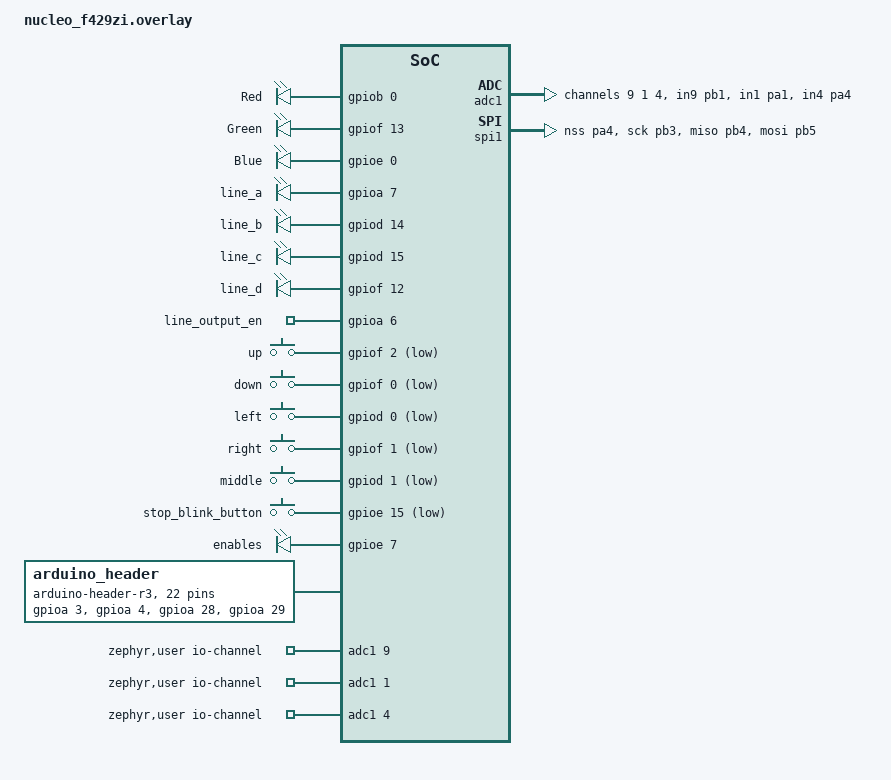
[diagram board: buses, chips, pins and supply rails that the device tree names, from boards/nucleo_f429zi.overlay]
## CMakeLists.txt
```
# SPDX-License-Identifier: Apache-2.0

cmake_minimum_required(VERSION 3.20.0)

find_package(Zephyr REQUIRED HINTS $ENV{ZEPHYR_BASE})
project(hello_world)

set (PROJ_TOP "/home/yair/alyn/alyn/")

add_compile_definitions( 
	ZEPHYR 
	USE_ORIGNAL_LUA_CODE
	NO_SYSLOG
)


set(TARGET  ZEPHYR)


include(ExternalProject)

# Define the external project
ExternalProject_Add(luac
    SOURCE_DIR ${PROJ_TOP}/common/luaEffects/luac
    #  CMAKE_ARGS -DCMAKE_INSTALL_PREFIX=<INSTALL_DIR>
    BUILD_ALWAYS 1
    INSTALL_COMMAND "" 
    PREFIX ${CMAKE_BINARY_DIR}/external_project_build 
)


# Make sure the main project depends on the custom target
add_dependencies(app luac)


set (LUAC_PATH 	
		${CMAKE_BINARY_DIR}/external_project_build/src/luac-build/luac
)

set (ZEPHYR  TRUE)
set (cpu_compile_flags -mcpu=cortex-m4 -mthumb)


add_subdirectory(${PROJ_TOP}/common/luaEffects  ${PROJECT_BINARY_DIR}/luaEffects/)
add_subdirectory(${PROJ_TOP}/common/effects  ${PROJECT_BINARY_DIR}/effects)
add_subdirectory(${PROJ_TOP}/common/utils  ${PROJECT_BINARY_DIR}/utils)
#add_subdirectory(${PROJ_TOP}/common/comm_protocol  ${PROJECT_BINARY_DIR}/comm_protocol)
#add_subdirectory(${PROJ_TOP}/common/hal  ${PROJECT_BINARY_DIR}/hal)


#https://jonathanhamberg.com/post/cmake-file-embedding/
include (${PROJ_TOP}/cmake/functions.cmake)
set(PRE_CONFIGURE_FILE "${PROJ_TOP}/cmake/git.h.in")
set(POST_CONFIGURE_FILE "${PROJECT_BINARY_DIR}/git.h")
include (${PROJ_TOP}/cmake/git_watcher.cmake)
set (CMAKE_CXX_STANDARD 17)

#add_library(common_static1 STATIC IMPORTED GLOBAL)
#set_target_properties(common_static1 PROPERTIES IMPORTED_LOCATION
#	/home/yair/alyn/project/game-controller/build/common/libcommon_static.a)

target_sources(app PRIVATE 
	# c
	src/shell.c
	src/main.c	
	src/hwctl.c	
	src/game.c
  	src/uart.c
	src/display.c
	src/buttons.c
	src/timing.c
  	src/lua_memory.c

	# cpp	
  	src/parser_task.cpp
	src/HandleUartMsg.cpp
	${PROJ_TOP}/common/comm_protocol/protocol-v1/ProtocolStateMachine.cpp
	${PROJ_TOP}/common/hal/zephyr/uart_shell.cpp

)

get_target_property(TARGET_COMPILE_OPTIONS app COMPILE_OPTIONS)
message("Compile options for my_target: ${TARGET_COMPILE_OPTIONS}")
target_include_directories(app PRIVATE
	${PROJ_TOP}/common/comm_protocol/
	${PROJ_TOP}/common/
	${PROJ_TOP}/common/hal
	${PROJ_TOP}/
	${PROJECT_BINARY_DIR}
	src/getopt
	common/	
	)


target_link_libraries(app PRIVATE 
	-Wl,--start-group	
	effects_static
	common_static
	luaEffects_static
	lua_binaries
	lua_module
	#	comm_protocol
	#	Hal
	-Wl,--end-group

)
#add_dependencies( app
#	common_static1
#)

#target_link_libraries(app PRIVATE common_static)

target_compile_definitions(app PRIVATE 
	ZEPHYR
	USE_ORIGNAL_LUA_CODE
	NO_SYSLOG)
```

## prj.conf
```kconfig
# nothing here
CONFIG_SHELL=y
CONFIG_ADC=y
CONFIG_ADC_STM32=y

#CONFIG_SHELL_GETOPT=y
#CONFIG_GPIO_EMUL=y
CONFIG_UART_NATIVE_POSIX=y
#CONFIG_EXTERNAL_LIBC=y
#CONFIG_MINIMAL_LIBC=y

CONFIG_DEBUG_THREAD_INFO=y
CONFIG_NO_OPTIMIZATIONS=y

CONFIG_POSIX_API=y
CONFIG_POSIX_CLOCK=y

#CONFIG_NEWLIB_LIBC=y
#CONFIG_FILE_SYSTEM=y
#CONFIG_MAIN_STACK_SIZE=16384
CONFIG_SHELL_STACK_SIZE=4096 
#16384

CONFIG_TEST_RANDOM_GENERATOR=y
#CONFIG_NEWLIB_LIBC=y
#CONFIG_DEBUG_OPTIMIZATIONS=y
#CONFIG_SHELL_START_OBSCURED=y


CONFIG_LOG=y
CONFIG_EXTRA_EXCEPTION_INFO=y
CONFIG_SIMPLIFIED_EXCEPTION_CODES=y


CONFIG_BOOT_BANNER=y


CONFIG_FLASH=y
CONFIG_FLASH_MAP=y
CONFIG_FLASH_PAGE_LAYOUT=y


#CONFIG_FILE_SYSTEM=y
#CONFIG_FILE_SYSTEM_SHELL=y
#CONFIG_FILE_SYSTEM_LITTLEFS=y


CONFIG_UART_INTERRUPT_DRIVEN=y

#CONFIG_HEAP_MEM_POOL_SIZE=16000
CONFIG_LIB_CPLUSPLUS=y
CONFIG_CPLUSPLUS=y
CONFIG_NEWLIB_LIBC_NANO=n
CONFIG_REQUIRES_FULL_LIBCPP=y

CONFIG_SHELL_BACKEND_SERIAL_TX_RING_BUFFER_SIZE=384
CONFIG_SHELL_BACKEND_SERIAL_RX_RING_BUFFER_SIZE=384
#CONFIG_SHELL_BACKEND_SERIAL_INTERRUPT_DRIVEN=y
CONFIG_SPI=y
CONFIG_SPI_STM32_DMA=y

#CONFIG_SPI_1=y
CONFIG_DMA=y
#CONFIG_SPI_DMA=y
#
CONFIG_GPIO=y
CONFIG_GPIO_STM32=y       # Adjust based on your MCU platform


CONFIG_HW_STACK_PROTECTION=y
CONFIG_STACK_SENTINEL=y
```

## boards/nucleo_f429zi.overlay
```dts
#include <zephyr/dt-bindings/input/input-event-codes.h>

/ {

	aliases  {
		spi-screen = &spi1;
		dma-screen = &dma1;
	};
	chosen {
		zephyr,console = &usart3;
		zephyr,shell-uart = &usart3;
	};

	leds {
		compatible = "gpio-leds";
		station_led_r: red {
			gpios = <&gpiob 0 (GPIO_ACTIVE_HIGH)>;
			label = "Red";
		};
		station_led_g: green {
			gpios = <&gpiof 13 (GPIO_ACTIVE_HIGH)>;
			label = "Green";
		};
		station_led_b: blue {
			gpios = <&gpioe 0 (GPIO_ACTIVE_HIGH)>;
			label = "Blue";
		};
	};
	
	line_mux {
		compatible = "gpio-leds";
		line_a: a {
			gpios = <&gpioa 7 (GPIO_PULL_UP | GPIO_ACTIVE_HIGH)>;
			label = "line_a";
		};
		line_b: b {
			gpios = <&gpiod 14 (GPIO_PULL_UP | GPIO_ACTIVE_HIGH)>;
			label = "line_b";
		};
		line_c: c {
			gpios = <&gpiod 15 (GPIO_PULL_UP | GPIO_ACTIVE_HIGH)>;
			label = "line_c";
		};
		line_d: d {
			gpios = <&gpiof 12 (GPIO_PULL_UP | GPIO_ACTIVE_HIGH)>;
			label = "line_d";
		};
	};

	ctl_gpio {
		compatible = "gpio-leds";
		line_output_en: line_output_en {
			gpios = <&gpioa 6 (GPIO_PULL_UP | GPIO_ACTIVE_HIGH)>;
			label = "line_output_en";
		};
	};

	gpio_keys: buttons{
		compatible = "gpio-keys";
		user_button_up: up {
			label = "up";
			gpios = <&gpiof 2 (GPIO_ACTIVE_LOW | GPIO_PULL_UP | GPIO_ACTIVE_LOW)> ;
			zephyr,code = <INPUT_KEY_U>;
		};
		user_button_down: down {
			label = "down";
			gpios = <&gpiof 0 ( GPIO_ACTIVE_LOW | GPIO_PULL_UP | GPIO_ACTIVE_LOW)>;
			zephyr,code = <INPUT_KEY_D>;
		};
		user_button_left: left {
			label = "left";
			gpios = <&gpiod 0 ( GPIO_ACTIVE_LOW | GPIO_PULL_UP | GPIO_ACTIVE_LOW)>;
			zephyr,code = <INPUT_KEY_L>;
		};
		user_button_right: right {
			label = "right";
			gpios = <&gpiof 1 (GPIO_ACTIVE_LOW | GPIO_PULL_UP | GPIO_ACTIVE_LOW)>;
			zephyr,code = <INPUT_KEY_R>;
		};
		user_button_middle: middle {
			label = "middle";
			gpios = <&gpiod 1 ( GPIO_ACTIVE_LOW | GPIO_PULL_UP | GPIO_ACTIVE_LOW)>;
			zephyr,code = <INPUT_KEY_M>;
		};
/*
		station_button: stb {
			label = "stb";
			gpios = <&gpiod 1 ( GPIO_ACTIVE_LOW | GPIO_PULL_UP | GPIO_ACTIVE_LOW)>;
			zephyr,code = <INPUT_KEY_M>;
		};
*/
		stop_blink_button_dt: stop_blink {
			label = "stop_blink_button";
			gpios = <&gpioe 15 (GPIO_ACTIVE_LOW | GPIO_PULL_UP )>;
			zephyr,code = <INPUT_KEY_S>;
		};
	
	};

	longpress {
        	input = <&user_button_up>;
	        compatible = "zephyr,input-longpress";
        	input-codes = <INPUT_KEY_L>, <INPUT_KEY_R>,<INPUT_KEY_D>, <INPUT_KEY_U>, <INPUT_KEY_M>;
	        short-codes = <INPUT_KEY_L>, <INPUT_KEY_R>,<INPUT_KEY_D>, <INPUT_KEY_U>, <INPUT_KEY_M>;
	        long-codes = <INPUT_KEY_L>, <INPUT_KEY_R>,<INPUT_KEY_D>, <INPUT_KEY_U>, <INPUT_KEY_M>;
	        long-delay-ms = <2000>;
	};

	enable_nodes {
             compatible = "gpio-leds";
          	enables: en {
		/*
			gpios =  <&arduino_header 1 GPIO_ACTIVE_LOW>,
				 <&arduino_header 2 GPIO_ACTIVE_LOW>,
				  <&arduino_header 3 GPIO_ACTIVE_LOW>,
				   <&arduino_header 4 GPIO_ACTIVE_LOW>,
				    <&arduino_header 5 GPIO_ACTIVE_LOW>;
		*/
                     gpios = <&gpioe 7 (GPIO_PULL_UP | GPIO_ACTIVE_HIGH)>,
		    	 <&gpiod 12 (GPIO_PULL_UP | GPIO_ACTIVE_HIGH)> ,
		    	 <&gpiod 11 (GPIO_PULL_UP | GPIO_ACTIVE_HIGH)> ,
		    	 <&gpioe 10 (GPIO_PULL_UP | GPIO_ACTIVE_HIGH)> ,
		    	 <&gpioe 2 (GPIO_PULL_UP | GPIO_ACTIVE_HIGH)> ,
		    	 <&gpioe 12 (GPIO_PULL_UP | GPIO_ACTIVE_HIGH)> ,
		    	 <&gpioe 14 (GPIO_PULL_UP | GPIO_ACTIVE_HIGH)> ,
		    	 <&gpioa 0 (GPIO_PULL_UP | GPIO_ACTIVE_HIGH)> ;			 
			 
			 
              };
     	};

	arduino_header: connector {
		compatible = "arduino-header-r3";
		#gpio-cells = <2>;
		gpio-map-mask = <0xffffffff 0xffffffc0>;
		gpio-map-pass-thru = <0 0x3f>;
		gpio-map = <0 0 &gpioa 3 0>,	/* A0 */
			   <1 0 &gpioa 4 0>,	/* A1 */
			   <2 0 &gpioa 28 0>,	/* A2 */
			   <3 0 &gpioa 29 0>,	/* A3 */
			   <4 0 &gpioa 30 0>,	/* A4 */
			   <5 0 &gpioa 31 0>,	/* A5 */
			   <6 0 &gpiob 1 0>,	/* D0 */
			   <7 0 &gpiob 2 0>,	/* D1 */
			   <8 0 &gpiob 3 0>,	/* D2 */
			   <9 0 &gpiob 4 0>,	/* D3 */
			   <10 0 &gpiob 5 0>,	/* D4 */
			   <11 0 &gpiob 6 0>,	/* D5 */
			   <12 0 &gpiob 7 0>,	/* D6 */
			   <13 0 &gpiob 8 0>,	/* D7 */
			   <14 0 &gpiob 10 0>,	/* D8 */
			   <15 0 &gpiob 11 0>,	/* D9 */
			   <16 0 &gpiob 12 0>,	/* D10 */
			   <17 0 &gpiob 13 0>,	/* D11 */
			   <18 0 &gpiob 14 0>,	/* D12 */
			   <19 0 &gpiob 15 0>,	/* D13 */
			   <20 0 &gpioa 26 0>,	/* D14 */
			   <21 0 &gpioa 27 0>;	/* D15 */
	};

	zephyr,user {
		/* adjust channel number according to pinmux in board.dts */
		io-channels = <&adc1 9>, <&adc1 1>, <&adc1 4>;
	};



			
};


/*
	
&clk_hse {
	status = "okay";
	clock-frequency = <8000000>;
};

&clk_lse {
	status = "okay";
	clock-frequency = <32784>;
};


&clk_hsi {
	status = "okay";
	clock-frequency = <16000000>;
};

&pll {
	div-m = <8>;
	mul-n = <336>;
	div-p = <2>;
	div-q = <7>;
	clocks = <&clk_hse>;
	status = "okay";
};





&rcc {
	clocks = <&pll>;
	clock-frequency = <DT_FREQ_M(168)>;
 	ahb-prescaler = <1>;
	apb1-prescaler = <4>;
	apb2-prescaler = <2>;
	
};


&usart3 {
	pinctrl-0 = <&usart3_tx_pc10 &usart3_rx_pc11>;
	pinctrl-names = "default";
	current-speed = <115200>;
	status = "okay";
};
*/




&adc1 {
	status = "okay";
	#address-cells = <1>;
	#size-cells = <0>;
	pinctrl-0 = <&adc1_in9_pb1>, <&adc1_in1_pa1>,  <&adc1_in4_pa4>;
	pinctrl-names = "default";


	channel@9 {
		reg = <9>;
		zephyr,gain = "ADC_GAIN_1";
		zephyr,reference = "ADC_REF_INTERNAL";
		zephyr,acquisition-time = <ADC_ACQ_TIME_DEFAULT>;
		zephyr,resolution = <12>;
	};

	channel@1 {
		reg = <1>;
		zephyr,gain = "ADC_GAIN_1";
		zephyr,reference = "ADC_REF_INTERNAL";
		zephyr,acquisition-time = <ADC_ACQ_TIME_DEFAULT>;
		zephyr,resolution = <12>;
	};

	channel@4 {
		reg = <4>;
		zephyr,gain = "ADC_GAIN_1";
		zephyr,reference = "ADC_REF_INTERNAL";
		zephyr,acquisition-time = <ADC_ACQ_TIME_DEFAULT>;
		zephyr,resolution = <12>;
	};
};


&dma1 {
	label = "dma_screen";
	status="okay";
};

&spi1  {
	pinctrl-0 = <&spi1_nss_pa4 &spi1_sck_pb3
		     &spi1_miso_pb4 &spi1_mosi_pb5>;
	pinctrl-names = "default";
	status = "okay";
	label="spi_screen";

	/* Specify DMA configuration */
    	dmas = <&dma1 5 0>, <&dma1 6 0>; // DMA channel 5 for TX, DMA channel 6 for RX
   	dma-names = "tx", "rx";
};
```

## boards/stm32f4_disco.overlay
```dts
/ {
	
	chosen {
		zephyr,console = &usart3;
		zephyr,shell-uart = &usart3;
	};

	leds {
		compatible = "gpio-leds";
		station_led_r: red {
			gpios = <&gpioh 2 (GPIO_PULL_UP | GPIO_ACTIVE_HIGH)>;
			label = "Red";
		};
		station_led_g: green {
			gpios = <&gpioh 3 (GPIO_PULL_UP | GPIO_ACTIVE_HIGH)>;
			label = "Green";
		};
		station_led_b: blue {
			gpios = <&gpioh 5 (GPIO_PULL_UP | GPIO_ACTIVE_HIGH)>;
			label = "Blue";
		};
	};	
	gpio_keys {
		compatible = "gpio-keys";
		user_button_up: up {
			label = "up";
			gpios = <&gpioa 0 GPIO_ACTIVE_HIGH>;
		};
		user_button_down: down {
			label = "down";
			gpios = <&gpioa 0 GPIO_ACTIVE_HIGH>;
		};
		user_button_left: left {
			label = "left";
			gpios = <&gpioa 0 GPIO_ACTIVE_HIGH>;
		};
		user_button_right: right {
			label = "right";
			gpios = <&gpioa 0 GPIO_ACTIVE_HIGH>;
		};
		user_button_middle: middle {
			label = "middle";
			gpios = <&gpioa 0 GPIO_ACTIVE_HIGH>;
		};

		station_button: stb {
			label = "station_button";
			gpios = <&gpioa 0 GPIO_ACTIVE_HIGH>;
		};
	
	};

	enable_nodes {
             compatible = "gpio-leds";
          	enables: en {
		/*
			gpios =  <&arduino_header 1 GPIO_ACTIVE_LOW>,
				 <&arduino_header 2 GPIO_ACTIVE_LOW>,
				  <&arduino_header 3 GPIO_ACTIVE_LOW>,
				   <&arduino_header 4 GPIO_ACTIVE_LOW>,
				    <&arduino_header 5 GPIO_ACTIVE_LOW>;
		*/
                     gpios = <&gpioi 9 (GPIO_PULL_UP | GPIO_ACTIVE_HIGH)>,
		    	 <&gpioi 11 (GPIO_PULL_UP | GPIO_ACTIVE_HIGH)> ,
		    	 <&gpiof 1 (GPIO_PULL_UP | GPIO_ACTIVE_HIGH)> ,
		    	 <&gpiof 3 (GPIO_PULL_UP | GPIO_ACTIVE_HIGH)> ,
		    	 <&gpiof 4 (GPIO_PULL_UP | GPIO_ACTIVE_HIGH)> ,
		    	 <&gpiof 6 (GPIO_PULL_UP | GPIO_ACTIVE_HIGH)> ,
		    	 <&gpiof 8 (GPIO_PULL_UP | GPIO_ACTIVE_HIGH)> ,
		    	 <&gpioc 2 (GPIO_PULL_UP | GPIO_ACTIVE_HIGH)> ;
			 
              };
     	};

arduino_header: connector {
		compatible = "arduino-header-r3";
		#gpio-cells = <2>;
		gpio-map-mask = <0xffffffff 0xffffffc0>;
		gpio-map-pass-thru = <0 0x3f>;
		gpio-map = <0 0 &gpioa 3 0>,	/* A0 */
			   <1 0 &gpioa 4 0>,	/* A1 */
			   <2 0 &gpioa 28 0>,	/* A2 */
			   <3 0 &gpioa 29 0>,	/* A3 */
			   <4 0 &gpioa 30 0>,	/* A4 */
			   <5 0 &gpioa 31 0>,	/* A5 */
			   <6 0 &gpiob 1 0>,	/* D0 */
			   <7 0 &gpiob 2 0>,	/* D1 */
			   <8 0 &gpiob 3 0>,	/* D2 */
			   <9 0 &gpiob 4 0>,	/* D3 */
			   <10 0 &gpiob 5 0>,	/* D4 */
			   <11 0 &gpiob 6 0>,	/* D5 */
			   <12 0 &gpiob 7 0>,	/* D6 */
			   <13 0 &gpiob 8 0>,	/* D7 */
			   <14 0 &gpiob 10 0>,	/* D8 */
			   <15 0 &gpiob 11 0>,	/* D9 */
			   <16 0 &gpiob 12 0>,	/* D10 */
			   <17 0 &gpiob 13 0>,	/* D11 */
			   <18 0 &gpiob 14 0>,	/* D12 */
			   <19 0 &gpiob 15 0>,	/* D13 */
			   <20 0 &gpioa 26 0>,	/* D14 */
			   <21 0 &gpioa 27 0>;	/* D15 */
	};

	zephyr,user {
		/* adjust channel number according to pinmux in board.dts */
		io-channels = <&adc1 10>, <&adc1 1>, <&adc1 4>;
	};



			

	fstab {
           compatible = "zephyr,fstab";
           lfs1: lfs1 {
            compatible = "zephyr,fstab,littlefs";
            mount-point = "/lfs";
            partition = <&storage_partition>;
            automount;
            read-size = <1>;
            prog-size = <16>;
            cache-size = <256>;
            lookahead-size = <32>;
            block-cycles = <512>;
            /*no-format;*/
        };
     };
     


	flash_controller2: flash-controller@2 {
			compatible = "zephyr,sim-flash";
			reg = <0x00000000 DT_SIZE_K(32)>;

			#address-cells = <1>;
			#size-cells = <1>;
			erase-value = <0xff>;

			flash_sim0: flash_sim@0 {
				status = "okay";
				compatible = "soc-nv-flash";
				erase-block-size = <64>;
				write-block-size = <1>;
				reg = <0x00000000 DT_SIZE_K(8)>;

				partitions {
					compatible = "fixed-partitions";
					#address-cells = <1>;
					#size-cells = <1>;

					storage_partition: partition@0 {
						label = "lfs";
						reg = <0x00000000 DT_SIZE_K(8)>;
					};
				};
			};
		};
};

&flash0 {
		partitions {
			compatible = "fixed-partitions";
			#address-cells = <1>;
			#size-cells = <1>;
			storage_partition1: partition@c0000 {
                        	 label = "data";
				 reg = <0x80000 DT_SIZE_K(512)>;
                	};
		};
	};

	
&clk_hse {
	status = "okay";
	clock-frequency = <25000000>;
};

&clk_lse {
	status = "okay";
	clock-frequency = <32784>;
};


&clk_hsi {
	status = "okay";
	clock-frequency = <16000000>;
};

&pll {
	div-m = <25>;
	mul-n = <336>;
	div-p = <2>;
	div-q = <7>;
	clocks = <&clk_hse>;
	status = "okay";
};





&rcc {
	clocks = <&pll>;
	clock-frequency = <DT_FREQ_M(168)>;
 	ahb-prescaler = <1>;
	apb1-prescaler = <4>;
	apb2-prescaler = <2>;
	
};


&usart3 {
	pinctrl-0 = <&usart3_tx_pc10 &usart3_rx_pc11>;
	pinctrl-names = "default";
	current-speed = <115200>;
	status = "okay";
};

&adc1 {
	status = "okay";
	#address-cells = <1>;
	#size-cells = <0>;
	pinctrl-0 = <&adc1_in10_pc0>, <&adc1_in1_pa1>,  <&adc1_in4_pa4>;
	pinctrl-names = "default";


	channel@10 {
		reg = <10>;
		zephyr,gain = "ADC_GAIN_1";
		zephyr,reference = "ADC_REF_INTERNAL";
		zephyr,acquisition-time = <ADC_ACQ_TIME_DEFAULT>;
		zephyr,resolution = <12>;
	};

	channel@1 {
		reg = <1>;
		zephyr,gain = "ADC_GAIN_1";
		zephyr,reference = "ADC_REF_INTERNAL";
		zephyr,acquisition-time = <ADC_ACQ_TIME_DEFAULT>;
		zephyr,resolution = <12>;
	};

	channel@4 {
		reg = <4>;
		zephyr,gain = "ADC_GAIN_1";
		zephyr,reference = "ADC_REF_INTERNAL";
		zephyr,acquisition-time = <ADC_ACQ_TIME_DEFAULT>;
		zephyr,resolution = <12>;
	};
};
```

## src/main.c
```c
/*
 * Copyright (c) 2012-2014 Wind River Systems, Inc.
 *
 * SPDX-License-Identifier: Apache-2.0
 */


#include <zephyr/kernel.h>
#include <zephyr/device.h>
#include <zephyr/devicetree.h>
#include <zephyr/drivers/uart.h>
#include <zephyr/drivers/spi.h>
#include <zephyr/drivers/gpio.h>
#include <zephyr/drivers/dma.h>

#include <zephyr/kernel.h>
#include <zephyr/device.h>
#include <zephyr/drivers/gpio.h>
#include <zephyr/sys/printk.h>

#include <zephyr/kernel.h>
#include <zephyr/device.h>
#include <zephyr/drivers/gpio.h>
#include <zephyr/sys/util.h>
#include <zephyr/sys/printk.h>
#include <inttypes.h>

#include "shell.h"


#include <zephyr/fs/fs.h>
#include <zephyr/drivers/gpio/gpio_emul.h>

#include <stdlib.h>

#include "lauxlib.h"
#include "lualib.h"
#include "hwctl.h"
#include "system_model.h"
#include "game.h"
#include "display.h"

#include "effects/src/led_matrix.h"
int _open() {
	return 0;
}


int _link() {
	return 0;
}
int _unlink() {
	return 0;
}
int _times() {
	return 0;
}

#include <zephyr/kernel.h>
#include <zephyr/device.h>
#include <zephyr/fs/fs.h>
//#include <zephyr/fs/littlefs.h>
#include <zephyr/logging/log.h>
#include <zephyr/storage/flash_map.h>

LOG_MODULE_REGISTER(main);

#if 0
/* Matches LFS_NAME_MAX */
#define MAX_PATH_LEN 255
#define TEST_FILE_SIZE 547

static uint8_t file_test_pattern[TEST_FILE_SIZE];
static int lsdir(const char *path)
{
	int res;
	struct fs_dir_t dirp;
	static struct fs_dirent entry;

	fs_dir_t_init(&dirp);

	/* Verify fs_opendir() */
	res = fs_opendir(&dirp, path);
	if (res) {
		LOG_ERR("Error opening dir %s [%d]\n", path, res);
		return res;
	}

	LOG_PRINTK("\nListing dir %s ...\n", path);
	for (;;) {
		/* Verify fs_readdir() */
		res = fs_readdir(&dirp, &entry);

		/* entry.name[0] == 0 means end-of-dir */
		if (res || entry.name[0] == 0) {
			if (res < 0) {
				LOG_ERR("Error reading dir [%d]\n", res);
			}
			break;
		}

		if (entry.type == FS_DIR_ENTRY_DIR) {
			LOG_PRINTK("[DIR ] %s\n", entry.name);
		} else {
			LOG_PRINTK("[FILE] %s (size = %zu)\n",
				   entry.name, entry.size);
		}
	}

	/* Verify fs_closedir() */
	fs_closedir(&dirp);

	return res;
}

static int littlefs_increase_infile_value(char *fname)
{
	uint8_t boot_count = 0;
	struct fs_file_t file;
	int rc, ret;

	fs_file_t_init(&file);
	rc = fs_open(&file, fname, FS_O_CREATE | FS_O_RDWR);
	if (rc < 0) {
		LOG_ERR("FAIL: open %s: %d", fname, rc);
		return rc;
	}

	rc = fs_read(&file, &boot_count, sizeof(boot_count));
	if (rc < 0) {
		LOG_ERR("FAIL: read %s: [rd:%d]", fname, rc);
		goto out;
	}
	LOG_PRINTK("%s read count:%u (bytes: %d)\n", fname, boot_count, rc);

#if 0
	rc = fs_seek(&file, 0, FS_SEEK_SET);
	if (rc < 0) {
		LOG_ERR("FAIL: seek %s: %d", fname, rc);
		goto out;
	}
#endif
	boot_count += 1;
	for (int i = 0;i<200;i++) { 
		rc = fs_write(&file, &boot_count, sizeof(boot_count));
	if (rc < 0) {
		LOG_ERR("FAIL: write %s: %d", fname, rc);
		goto out;
	}
	}
	LOG_PRINTK("%s write new boot count %u: [wr:%d]\n", fname,
		   boot_count, rc);

 out:
	ret = fs_close(&file);
	if (ret < 0) {
		LOG_ERR("FAIL: close %s: %d", fname, ret);
		return ret;
	}

	return (rc < 0 ? rc : 0);
}

static void incr_pattern(uint8_t *p, uint16_t size, uint8_t inc)
{
	uint8_t fill = 0x55;

	if (p[0] % 2 == 0) {
		fill = 0xAA;
	}

	for (int i = 0; i < (size - 1); i++) {
		if (i % 8 == 0) {
			p[i] += inc;
		} else {
			p[i] = fill;
		}
	}

	p[size - 1] += inc;
}

static void init_pattern(uint8_t *p, uint16_t size)
{
	uint8_t v = 0x1;

	memset(p, 0x55, size);

	for (int i = 0; i < size; i += 8) {
		p[i] = v++;
	}

	p[size - 1] = 0xAA;
}

static void print_pattern(uint8_t *p, uint16_t size)
{
	int i, j = size / 16, k;

	for (k = 0, i = 0; k < j; i += 16, k++) {
		LOG_PRINTK("%02x %02x %02x %02x %02x %02x %02x %02x ",
			   p[i], p[i+1], p[i+2], p[i+3],
			   p[i+4], p[i+5], p[i+6], p[i+7]);
		LOG_PRINTK("%02x %02x %02x %02x %02x %02x %02x %02x\n",
			   p[i+8], p[i+9], p[i+10], p[i+11],
			   p[i+12], p[i+13], p[i+14], p[i+15]);

		/* Mark 512B (sector) chunks of the test file */
		if ((k + 1) % 32 == 0) {
			LOG_PRINTK("\n");
		}
	}

	for (; i < size; i++) {
		LOG_PRINTK("%02x ", p[i]);
	}

	LOG_PRINTK("\n");
}

static int littlefs_binary_file_adj(char *fname)
{
	struct fs_dirent dirent;
	struct fs_file_t file;
	int rc, ret;

	/*
	 * Uncomment below line to force re-creation of the test pattern
	 * file on the littlefs FS.
	 */
	/* fs_unlink(fname); */
	fs_file_t_init(&file);

	rc = fs_open(&file, fname, FS_O_CREATE | FS_O_APPEND);
	if (rc < 0) {
		LOG_ERR("FAIL: open %s: %d", fname, rc);
		return rc;
	}

	rc = fs_stat(fname, &dirent);
	if (rc < 0) {
		LOG_ERR("FAIL: stat %s: %d", fname, rc);
		goto out;
	}

	/* Check if the file exists - if not just write the pattern */
	if (rc == 0 && dirent.type == FS_DIR_ENTRY_FILE && dirent.size == 0) {
		LOG_INF("Test file: %s not found, create one!",
			fname);
		init_pattern(file_test_pattern, sizeof(file_test_pattern));
	} else {
		rc = fs_read(&file, file_test_pattern,
			     sizeof(file_test_pattern));
		if (rc < 0) {
			LOG_ERR("FAIL: read %s: [rd:%d]",
				fname, rc);
			goto out;
		}
		incr_pattern(file_test_pattern, sizeof(file_test_pattern), 0x1);
	}

	LOG_PRINTK("------ FILE: %s ------\n", fname);
	print_pattern(file_test_pattern, sizeof(file_test_pattern));

	rc = fs_seek(&file, 0, FS_SEEK_SET);
	if (rc < 0) {
		LOG_ERR("FAIL: seek %s: %d", fname, rc);
		goto out;
	}

	rc = fs_write(&file, file_test_pattern, sizeof(file_test_pattern));
	if (rc < 0) {
		LOG_ERR("FAIL: write %s: %d", fname, rc);
	}

 out:
	ret = fs_close(&file);
	if (ret < 0) {
		LOG_ERR("FAIL: close %s: %d", fname, ret);
		return ret;
	}

	return (rc < 0 ? rc : 0);
}


#define CONFIG_APP_LITTLEFS_STORAGE_FLASH
#ifdef CONFIG_APP_LITTLEFS_STORAGE_FLASH
static int littlefs_flash_erase(unsigned int id)
{
	const struct flash_area *pfa;
	int rc;

	rc = flash_area_open(id, &pfa);
	if (rc < 0) {
		LOG_ERR("FAIL: unable to find flash area %u: %d\n",
			id, rc);
		return rc;
	}

	LOG_PRINTK("Area %u at 0x%x on %s for %u bytes\n",
		   id, (unsigned int)pfa->fa_off, pfa->fa_dev->name,
		   (unsigned int)pfa->fa_size);

	/* Optional wipe flash contents */
	if (IS_ENABLED(CONFIG_APP_WIPE_STORAGE)) {
		rc = flash_area_erase(pfa, 0, pfa->fa_size);
		LOG_ERR("Erasing flash area ... %d", rc);
	}

	flash_area_close(pfa);
	return rc;
}
#define PARTITION_NODE DT_NODELABEL(lfs1)

#if DT_NODE_EXISTS(PARTITION_NODE)
FS_FSTAB_DECLARE_ENTRY(PARTITION_NODE);
#else /* PARTITION_NODE */
FS_LITTLEFS_DECLARE_DEFAULT_CONFIG(storage);
static struct fs_mount_t lfs_storage_mnt = {
	.type = FS_LITTLEFS,
	.fs_data = &storage,
	.storage_dev = (void *)FIXED_PARTITION_ID(storage_partition),
	.mnt_point = "/lfs",
};
#endif /* PARTITION_NODE */

	struct fs_mount_t *mp =
#if DT_NODE_EXISTS(PARTITION_NODE)
		&FS_FSTAB_ENTRY(PARTITION_NODE)
#else
		&lfs_storage_mnt
#endif
		;

static int littlefs_mount(struct fs_mount_t *mp)
{
	int rc;

	rc = littlefs_flash_erase((uintptr_t)mp->storage_dev);
	if (rc < 0) {
		return rc;
	}

	/* Do not mount if auto-mount has been enabled */
#if !DT_NODE_EXISTS(PARTITION_NODE) ||						\
	!(FSTAB_ENTRY_DT_MOUNT_FLAGS(PARTITION_NODE) & FS_MOUNT_FLAG_AUTOMOUNT)
	rc = fs_mount(mp);
	if (rc < 0) {
		LOG_PRINTK("FAIL: mount id %" PRIuPTR " at %s: %d\n",
		       (uintptr_t)mp->storage_dev, mp->mnt_point, rc);
		return rc;
	}
	LOG_PRINTK("%s mount: %d\n", mp->mnt_point, rc);
#else
	LOG_PRINTK("%s automounted\n", mp->mnt_point);
#endif

	return 0;
}
#endif /* CONFIG_APP_LITTLEFS_STORAGE_FLASH */

#ifdef CONFIG_APP_LITTLEFS_STORAGE_BLK_SDMMC
struct fs_littlefs lfsfs;
static struct fs_mount_t __mp = {
	.type = FS_LITTLEFS,
	.fs_data = &lfsfs,
	.flags = FS_MOUNT_FLAG_USE_DISK_ACCESS,
};
struct fs_mount_t *mp = &__mp;

static int littlefs_mount(struct fs_mount_t *mp)
{
	static const char *disk_mount_pt = "/"CONFIG_SDMMC_VOLUME_NAME":";
	static const char *disk_pdrv = CONFIG_SDMMC_VOLUME_NAME;

	mp->storage_dev = (void *)disk_pdrv;
	mp->mnt_point = disk_mount_pt;

	return fs_mount(mp);
}
#endif /* CONFIG_APP_LITTLEFS_STORAGE_BLK_SDMMC */


#endif
int main1(void)
{
#if 0
	char fname1[MAX_PATH_LEN];
	char fname2[MAX_PATH_LEN];
	char fname3[MAX_PATH_LEN];

	struct fs_statvfs sbuf;
	int rc;

	LOG_PRINTK("Sample program to r/w files on littlefs\n");

	rc = littlefs_mount(mp);
	if (rc < 0) {
	//	return 0;
	}

	snprintf(fname1, sizeof(fname1), "%s/boot_count", mp->mnt_point);
	snprintf(fname2, sizeof(fname2), "%s/pattern.bin", mp->mnt_point);
	snprintf(fname3, sizeof(fname2), "%s/pattern11.bin", mp->mnt_point);

	rc = fs_statvfs(mp->mnt_point, &sbuf);
	if (rc < 0) {
		LOG_PRINTK("FAIL: statvfs: %d\n", rc);
		goto out;
	}

	printf("%s: bsize = %lu ; frsize = %lu ;"
		   " blocks = %lu ; bfree = %lu\n",
		   mp->mnt_point,
		   sbuf.f_bsize, sbuf.f_frsize,
		   sbuf.f_blocks, sbuf.f_bfree);

	rc = lsdir(mp->mnt_point);
	if (rc < 0) {
		LOG_PRINTK("FAIL: lsdir %s: %d\n", mp->mnt_point, rc);
		goto out;
	}

	rc = littlefs_increase_infile_value(fname1);
	if (rc) {
		goto out;
	}

	rc = littlefs_binary_file_adj(fname2);
	if (rc) {
		goto out;
	}



	for (int i=0;i<0;i++) {
	snprintf(fname3, sizeof(fname2), "%s/pattern-%d.bin", mp->mnt_point,i);
	rc = littlefs_binary_file_adj(fname3);
	if (rc) {
		goto out;
	}
	}
out:

printf("%s: bsize = %lu ; frsize = %lu ;"
		   " blocks = %lu ; bfree = %lu\n",
		   mp->mnt_point,
		   sbuf.f_bsize, sbuf.f_frsize,
		   sbuf.f_blocks, sbuf.f_bfree);


	//rc = fs_unmount(mp);
	//LOG_PRINTK("%s unmount: %d\n", mp->mnt_point, rc);
#endif
	game_init();
	init_shell();
	
	return 0;
}

#include "luasrc.h"




//https://blog.devgenius.io/how-to-add-your-c-library-in-lua-46fd246f0fa8
//lua_State *L;
int main_org(void)
{


	

	led_matrix_init(led_matrix_get(), 64,32);

	game_init();
	init_shell();
	

	uint32_t millis_counter = 0;


	//https://chat.openai.com/c/540b150d-0eea-49ae-8f3d-a4fed08e1012
    while (1) {
        // Get the current uptime in milliseconds
//        uint32_t current_time = k_uptime_get();
        
        // Print the current time (optional)
      //  printk("Current Time: %u ms\n", current_time);

        // Do other tasks if needed

        // Wait for 1 millisecond
        k_sleep(K_MSEC(1000));

        // Increment the millisecond counter
        millis_counter++;
    }


	return 0;
}


// -----------------------spi
//https://community.st.com/t5/stm32-mcus-embedded-software/use-spi-on-stm32f410rb-via-zephyr/m-p/397545
//#include <zephyr.h>
//#include <device.h>
//#include <drivers/spi.h>

/* Define the SPI device */
#define SPI_DEVICE_NAME DT_LABEL(DT_ALIAS(spi_screen))

/* Define the DMA channel */
#define DMA_DEVICE_NAME DT_LABEL(DT_ALIAS(dma_screen))

/* DMA configuration */
#define DMA_CHANNEL 1

/* Buffer size */
#define BUFFER_SIZE 256

//static uint8_t tx_buffer[BUFFER_SIZE]={1,2,3,4,5,6,7,8,9};
//static uint8_t rx_buffer[BUFFER_SIZE];

static struct k_sem spi_sem;

void spi_dma_callback(const struct device *dev, void *user_data, uint32_t channel, int status)
{
    ARG_UNUSED(dev);
    ARG_UNUSED(user_data);
    ARG_UNUSED(channel);

    if (status != 0) {
        printk("SPI DMA Transfer failed with status %d\n", status);
        return;
    }

    /* SPI DMA transfer completed */
    k_sem_give(&spi_sem);
}
#if 0
void main11(void)
{
    const struct device *spi_dev;
    const struct device *dma_dev;
    struct spi_config spi_cfg = {
        .frequency = 1000000,
        .operation = SPI_OP_MODE_MASTER | SPI_WORD_SET(8),
        .slave = 0,
        .cs = NULL
    };
    struct spi_buf tx_buf = {
        .buf = tx_buffer,
        .len = BUFFER_SIZE
    };
    struct spi_buf rx_buf = {
        .buf = rx_buffer,
        .len = BUFFER_SIZE
    };
    struct spi_buf_set tx_rx_bufs = {
        .buffers = &tx_buf,
        .count = 1
    };

    spi_dev = device_get_binding(SPI_DEVICE_NAME);
    if (!spi_dev) {
        printk("Cannot find SPI device!\n");
        return;
    }

    printk("SPI start!\n");
#if 0    
    dma_dev = device_get_binding(DMA_DEVICE_NAME);
    if (!dma_dev) {
        printk("Cannot find DMA device!\n");
        return;
    }

    /* Initialize semaphore */
    k_sem_init(&spi_sem, 0, 1);

    /* Set up SPI DMA configuration */
    struct dma_config dma_cfg = {
        .channel_direction = MEMORY_TO_PERIPHERAL,
        //.source_transfer_width = 1,
        //.dest_transfer_width = 1,
        .source_burst_length = 1,
        .dest_burst_length = 1,
        .complete_callback_en = 1,
        .complete_callback_en = spi_dma_callback,
    };

    /* Set up DMA channel */
    if (dma_config(dma_dev, DMA_CHANNEL, &dma_cfg) != 0) {
        printk("DMA channel configuration failed!\n");
        return;
    }
#endif
    /* Perform SPI DMA transfer */
  //  if (spi_transceive_dma(spi_dev, &spi_cfg, &tx_rx_bufs, 1, DMA_CHANNEL) != 0) {
    if (spi_write(spi_dev, &spi_cfg, &tx_rx_bufs) != 0) {

        printk("SPI DMA transfer failed!\n");
       // return;
    }

    printk("SPI stop!\n");

    /* Wait for transfer to complete */
    k_sem_take(&spi_sem, K_FOREVER);

    printk("SPI DMA transfer completed successfully!\n");
}
#endif

#if 0
void main(void)
{
//	game_init();
//	led_matrix_init(led_matrix_get(), 64,32);

//	display__init();
}
#endif
```

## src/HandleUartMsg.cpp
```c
/*
 * =====================================================================================
 *
 *       Filename:  protocol.cpp
 *
 *    Description:  
 *
 *        Version:  1.0
 *        Created:  11/11/2022 12:22:05 PM
 *       Revision:  none
 *       Compiler:  gcc
 *
 *        Company:  Israel
 *
 * =====================================================================================
 */

#include "HandleUartMsg.h"
```

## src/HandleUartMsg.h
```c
/*
 * =====================================================================================
 *
 *       Filename:  protocol.h
 *
 *    Description:  
 *
 *        Version:  1.0
 *        Created:  11/11/2022 03:14:53 PM
 *       Revision:  none
 *       Compiler:  gcc
 *
 *        Company:  Israel
 *
 * =====================================================================================
 */

#ifndef PROTOCOL_H
#define PROTOCOL_H 
#include <zephyr/kernel.h>
#include <zephyr/shell/shell.h>
#include <zephyr/shell/shell_uart.h>

#include <string>
#include <memory>
#include <vector>

#include <cstring>
#include <type_traits>
#include <utility>


#include "protocol-v1/ProtoclDataStructures.h"
#include "protocol-v1/messages.h"
#include "protocol-v1/IHandleMsg.h"
#include "utils/logger.h"
#include "game.h"
#include "hal/IUart.h"

using namespace Simple;

extern "C" {
	int set_bypass(const struct shell *sh, shell_bypass_cb_t bypass);
}

class HandleUartMsg: public IHandleMsg {
	public:
		HandleUartMsg() = default;
		HandleUartMsg(std::shared_ptr<Hal::IUart> uart) : m_uart(uart)  {};
		void NewData(const MsgToParse &msg) override {
			switch (msg.cmd) {
				case CmdId::GetDeviceInfo:
					{

						Payload::DeviceInfoData data;
						DeviceInfoData deviceInfoData;
						data.hw_version[0] = 1;
						data.hw_version[1] = 2;
						data.sw_version[2] = 3;
						data.sw_version[0] = 4;
						data.sw_version[1] = 5;


						auto msg = deviceInfoData(data);
						int n = m_uart->Send(msg->buffer,msg->size()); 
						(void)n;

						break;
					}
				case CmdId::DataChunk:
					{
						Payload::DataChunk *di = (Payload::DataChunk*)(msg.data.buffer);	
						/* save data in memory */
						push_lua_code_to_memory(di->buffer, di->size, di->reset);
						// send ok message
						Ack ack;
						auto res_msg = ack();
						int n = m_uart->Send(res_msg->buffer,res_msg->size()); 
						(void)n;
						break;
					}
				case CmdId::GameStartCommand:
					{
						Payload::Command *di = (Payload::Command*)(msg.data.buffer);	
						struct game * g = game_get_by_index(di->params[0]);
						game_start(g);
						// send ok message
						Ack ack;
						auto res_msg = ack();
						int n = m_uart->Send(res_msg->buffer,res_msg->size()); 
						(void)n;
						break;
					}
				case CmdId::GameStopCommand:
					{
						game_stop();
						// send ok message
						Ack ack;
						auto res_msg = ack();
						int n = m_uart->Send(res_msg->buffer,res_msg->size()); 
						(void)n;
						break;
					}
				case CmdId::ExitBypassModeCommand:
					{
						Payload::Command *di = (Payload::Command*)(msg.data.buffer);	
						(void)di;
						const struct shell *sh = shell_backend_uart_get_ptr();
						set_bypass (sh, NULL);
						// send ok message
						Ack ack;
						auto res_msg = ack();
						int n = m_uart->Send(res_msg->buffer,res_msg->size()); 
						(void)n;
						break;

					}

				default:
					{
						// Reserved
						// AckNack
						// DeviceInfoData
					}
			}

		};
		void Wrongdata() override {
		};
	private:
		std::shared_ptr<Hal::IUart> m_uart;


};


#endif
```

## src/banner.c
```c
/*
 * =====================================================================================
 *
 *       Filename:  banner.c
 *
 *    Description:  
 *
 *        Version:  1.0
 *        Created:  09/25/2023 08:01:32 PM
 *       Revision:  none
 *       Compiler:  gcc
 *
 *         Author:  Yair Gadelov (yg), yair.gadelov@gmail.com
 *        Company:  Israel
 *
 * =====================================================================================
 */

#include "banner.h"
#include "canvas.h"
#include "u8.h"
#include <assert.h>

#include <string.h>
#include <stdarg.h>
#include <stdio.h>
#include <stdlib.h>


int rect_width(struct rect * r) {
	return r->width;

}
int rect_height(struct rect * r){
	return r->height;
}


struct  canvas *  banner_get_canvas(struct banner * banner)
{
	return &banner->canvas;
}
/**
 * Created  09/25/2023
 * @brief   init banner with external canvsa (pre defined canvas)
 * @note  
 * @param   banner ponter
 * @param   canvs pointer to canvs
 * @param   canvas_effect pointer to effect function on the givven canvs
 * @return  
 */
void banner_init_by_canvas(struct banner * banner, void (*do_effect)(struct canvas *)) {
	banner->effect_id = 3;
	banner->effet.canvas.do_effect	= do_effect;
	do_effect (&banner->canvas);
	banner->is_init = 1;
	
}


/**
 * Created  09/25/2023
 * @brief  initilize banner  
 * @note  
 * @param    
 * @return  
 */
void banner_init_with_text(struct banner * banner,const struct font * font,const char* fmt, ...){ 
	va_list args;
	va_start(args, fmt);

	vsnprintf(banner->text,sizeof(banner->text), fmt, args);
	int len = u8_strlen(banner->text);
//	banner->x = 0; //x;
//	banner->y = 0; //y;
	canvas_init(&banner->canvas,len * font_width(font,0) , font_height(font) );
	canvas_set_font(&banner->canvas, font);
	canvas_print(&banner->canvas, x,y, banner->text);

	banner->is_init = 1;
}

void banner_set_text(struct banner * banner, int x, int y,const char* fmt, ...){ 
	va_list args;
	va_start(args, fmt);
	vsnprintf(banner->text,sizeof(banner->text), fmt, args);
}



/**
 * Created  09/26/2023
 * @brief   place data in the rectnage buffer and rerturn pointer of it.
 * The recangle buffer should be displyed on screen
 * @note  
 * @param   
 * @return  
 */
void banner_get_buffer(struct banner * banner, struct rect * r, char *rect_buffer) {

	canvas_get_rect(&banner->canvas, r, rect_buffer);

}

void banner_blink_effect(struct banner * banner, int rate, int start_idx, int end_idx, int tick_time) {
	banner->effect_id = 1;	
	banner->tick = 0;
	banner->effet.blink.rate = rate;
	banner->effet.blink.start_idx = start_idx;
	banner->effet.blink.end_idx = end_idx;
	banner->effet.blink.tick_time = tick_time;
	banner->effet.blink.on = 1;

}

void banner_rotate_effect(struct banner * banner, int direction, int step, int tick_time) {
	banner->effect_id = 2;
	banner->tick = 0;	
	banner->effet.rotate.direction = direction;
	banner->effet.rotate.tick_time = tick_time;
	banner->effet.rotate.step = step;

}

int banner_is_initialize (struct banner * banner) {
	return banner->is_init;
}

char * banner_get_canvas_buffer(struct banner * banner) {
	return banner->canvas.buffer;
}

int banner_width (struct banner * banner) {
	return banner->canvas.width;
}

int banner_height (struct banner * banner) {
	return banner->canvas.height;
}


static void bannner_manage_blink(struct banner * banner) 
{
	banner->tick++;

	if (banner->tick >= banner->effet.blink.rate) {
		banner->tick = 0;
		if (banner->effet.blink.on == 1) {
			banner->effet.blink.on = 0;
			if (banner->effet.blink.end_idx !=0 && banner->effet.blink.start_idx <= banner->effet.blink.end_idx)
				// blink range of letters
				canvas_fill_rect(&banner->canvas, &(struct rect  ){/*banner->x +*/ banner->effet.blink.start_idx * font_width(banner->canvas.font,0) ,0/*banner->y*/,banner->effet.blink.end_idx * font_width(banner->canvas.font,0) , font_height(banner->canvas.font)},0);

			else   { // blink all text
				int len = u8_strlen(banner->text);				
				canvas_fill_rect(&banner->canvas, &(struct rect  ){0/*banner->x*/,0/*banner->y*/,len * font_width(banner->canvas.font,0) , font_height(banner->canvas.font)},0);
			}
		}
		else {
			banner->effet.blink.on = 1;
			canvas_print(&banner->canvas, 0/*banner->x*/,0 /*banner->y*/, banner->text);
		}
	}
}

static void bannner_manage_rotate(struct banner * banner) {
	banner->tick++;

	if (banner->tick >= banner->effet.rotate.tick_time) {
		banner->tick = 0;
		if (banner->effet.rotate.direction == 1) {
			canvas_rotate_left(&banner->canvas,banner->effet.rotate.step);	
		} else if (banner->effet.rotate.direction == 2) {
			canvas_rotate_right(&banner->canvas,banner->effet.rotate.step);				
		}
	}

}


/**
 * Created  09/26/2023
 * @brief   This routine is invoked upon each timeout expiration to update the banner state in accordance with its configuration
 * @note  
 * @param   
 * @return  
 */
void banner_manage(struct banner * banner) {
	switch (banner->effect_id) {
		case 1: // blink
			bannner_manage_blink(banner);
			break;
		case 2: // rotate
			bannner_manage_rotate(banner);
			break;
		case 3:
			banner->effet.canvas.do_effect(&banner->canvas);
			break;
		default:
			// do nothing
			break;
	};
}
```

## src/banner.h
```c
/*
 * =====================================================================================
 *
 *       Filename:  banner.h
 *
 *    Description:  
 *
 *        Version:  1.0
 *        Created:  09/25/2023 08:01:40 PM
 *       Revision:  none
 *       Compiler:  gcc
 *
 *         Author:  Yair Gadelov (yg), yair.gadelov@gmail.com
 *        Company:  Israel
 *
 * =====================================================================================
 */

#ifndef BANNER_H
#define BANNER_H 
#include "canvas.h"

#ifdef __cplusplus
extern "C" {
#endif

	/**
	 * @class banner
	 * @brief This class represents a banner to be displayed on the screen. Its primary function
	 * is to manage the Canvas class for rendering the banner.
	 */
	struct banner {
		int is_init;
		struct canvas canvas;
		char text[256];
		int tick;
		int effect_id;  // 0, none , 1 blink, 2
		union effect {
			struct blink_effect {
				int rate ;     // is abpove 0, the letters blink, 
				int start_idx; // the index of letter to blink, if -1, all letter blink
				int end_idx;
				int on;  // 0 - no text, 1 display text
				int tick_time;
				//int cnt ;
			} blink;
			struct rotate_effect {
				int tick_time;
				int step;
				int direction; //0 no rotation, 1 left 2, right
					       //int cnt;
			} rotate;
			struct canvas_effet {
				// can use to manipulate canvas using external function
				void (*do_effect)(struct canvas *);
			} canvas;
		} effet;
	};

	void banner_init_by_canvas(struct banner * banner, void (*do_effect)(struct canvas *));
	struct canvas * banner_get_canvas(struct banner * banner);
	void banner_set_text(struct banner * banner, int x, int y,const char* fmt, ...);
	void banner_get_buffer(struct banner * banner, struct rect * r,  char *rect_buffer);
	void banner_init_with_text(struct banner * banner, const struct font * font,const char* fmt, ...);
	void banner_blink_effect(struct banner * banner, int rate, int start_idx,int end_idx, int tick_time);
	void banner_rotate_effect(struct banner * banner, int direction, int step, int tick_time);
	int banner_is_initialize (struct banner * banner);
	char * banner_get_canvas_buffer(struct banner * banner);


#ifdef __cplusplus
}
#endif

#endif
```

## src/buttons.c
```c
/*
 * =====================================================================================
 *
 *       Filename:  gpio.c
 *
 *    Description:  
 *
 *        Version:  1.0
 *        Created:  06/19/2024 08:57:14 PM
 *       Revision:  none
 *       Compiler:  gcc
 *
 *         Author:  Yair Gadelov (yg), yair.gadelov@gmail.com
 *        Company:  Israel
 *
 * =====================================================================================
 */
#include <zephyr/kernel.h>
#include <zephyr/device.h>
#include <zephyr/devicetree.h>
#include <zephyr/drivers/gpio.h>
#include <zephyr/device.h>
#include <zephyr/devicetree.h>
#include <zephyr/drivers/adc.h>
#include <zephyr/kernel.h>
#include <zephyr/sys/printk.h>
#include <zephyr/sys/util.h>


#include "system_model.h"
#include <stdio.h>

#define GPIO_NODE DT_NODELABEL(gpioa)

#define BUTTON_UP_NODE DT_NODELABEL(user_button_up)
#define BUTTON_DOWN_NODE DT_NODELABEL(user_button_down)
#define BUTTON_LEFT_NODE DT_NODELABEL(user_button_left)
#define BUTTON_RIGHT_NODE DT_NODELABEL(user_button_right)
#define BUTTON_MIDDLE_NODE DT_NODELABEL(user_button_middle)
//#define BUTTON_STB_NODE DT_NODELABEL(station_button)

#define GET_GPIO_PIN(node) DT_GPIO_PIN(node, gpios)
#define GET_GPIO_FLAGS(node) (GPIO_INPUT | DT_GPIO_FLAGS(node, gpios)  | GPIO_INT_EDGE_BOTH)

/* size of stack area used by each thread */
#define STACKSIZE 4096

/* scheduling priority used by each thread */
#define PRIORITY 6




struct button {
	struct gpio_callback button_cb_data;
	const char *label;
	const struct gpio_dt_spec spec;
	int64_t press_time;
	int id;
	int state;
};

#define BUTTON_SPEC(node,id_) { .label = DT_LABEL(node), .spec = GPIO_DT_SPEC_GET_OR(node, gpios, {0}), .press_time = 0,.id=(id_) }

static struct button buttons[] = {
	BUTTON_SPEC(BUTTON_MIDDLE_NODE,0),	
	BUTTON_SPEC(BUTTON_UP_NODE,    1),		
	BUTTON_SPEC(BUTTON_LEFT_NODE,  2),
	BUTTON_SPEC(BUTTON_RIGHT_NODE, 3),	
	BUTTON_SPEC(BUTTON_DOWN_NODE,  4),
//	BUTTON_SPEC(BUTTON_STB_NODE,   5),
};


void buttons_init(void)
{
	int ret;

	for (int i = 0; i < ARRAY_SIZE(buttons); i++) {
		ret = gpio_pin_configure_dt(&buttons[i].spec, GPIO_INPUT);
		if (ret != 0) {
			printk("Error %d: failed to configure pin %d for %s\n", ret, buttons[i].spec.pin, buttons[i].label);
			return;
		}

		if (!device_is_ready(buttons[i].spec.port)) {
			printk("Error: Button %s GPIO port %s is not ready\n", buttons[i].label, buttons[i].spec.port->name);
			return;
		}

	}

}


void buttons_thread (void *p1,void *p2, void *p3)
{
	int val;
	int64_t duration;
	buttons_init();	
	int64_t now = 0;
	while (1) {
		//int64_t now = k_uptime_get();				 		
		for (int i = 0; i < ARRAY_SIZE(buttons); i++) {
			val = gpio_pin_get_dt(&buttons[i].spec);	
			if (val && buttons[i].state==0) {
				 buttons[i].state=1;
				 buttons[i].press_time = now;
			} else if (buttons[i].state>0 && buttons[i].state<3  && val) {
				duration = now - buttons[i].press_time;
				if (duration >= 1000 && buttons[i].state == 2) {
					buttons[i].state = 3;
					set_long_key(buttons[i].id, 1);	
				} else if (duration >= 10 && buttons[i].state == 1) {
					buttons[i].state = 2;
					set_key(buttons[i].id, 1);					
				}
			} else if (val==0 && buttons[i].state) {
				if (buttons[i].state == 3) {
					printf("Button %s (GPIO %d) long press (%lld ms)\n", buttons[i].label, buttons[i].spec.pin, duration);
				} else if  (buttons[i].state == 2) {
					printf("Button %s (GPIO %d) short press (%lld ms)\n", buttons[i].label, buttons[i].spec.pin, duration);	
									
				}
				buttons[i].state = 0;
				

			}
			
		}
		now++;
		k_sleep(K_MSEC(1)); // Wait for 1 second
	}
}



K_THREAD_DEFINE(buttons_thread_id, STACKSIZE, buttons_thread, NULL , NULL, NULL, PRIORITY, 0, 0);
```

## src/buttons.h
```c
/*
 * =====================================================================================
 *
 *       Filename:  gpio.h
 *
 *    Description:  
 *
 *        Version:  1.0
 *        Created:  06/19/2024 08:57:56 PM
 *       Revision:  none
 *       Compiler:  gcc
 *
 *         Author:  Yair Gadelov (yg), yair.gadelov@gmail.com
 *        Company:  Israel
 *
 * =====================================================================================
 */

#ifndef GPIO_H
#define GPIO_H 
void buttons_init(void);
#endif
```

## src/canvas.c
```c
/*
 * =====================================================================================
 *
 *       Filename:  canvas.c
 *
 *    Description:  
 *
 *        Version:  1.0
 *        Created:  09/22/2023 10:55:47 AM
 *       Revision:  none
 *       Compiler:  gcc
 *
 *         Author:  Yair Gadelov (yg), yair.gadelov@gmail.com
 *        Company:  Israel
 *
 * =====================================================================================
 */

#include <stdlib.h>
#include <string.h>
#include <assert.h>
#include <stdio.h>

#include "canvas.h"
#include "u8.h"

void canvas_init(struct canvas * canvas, int width, int height)
{
	memset (canvas, 0, sizeof(*canvas));
	canvas->font = 0;
	canvas->font_color = RGB(255,255,255);
	canvas->bg_color = RGB(0,0,0);

	
	canvas->width = width;
	canvas->height = height;
	canvas->buffer = malloc(4 * width * height);
	memset (canvas->buffer,0,4 * width * height); 
}

void canvas_free(struct canvas * canvas)
{
	if (canvas->buffer) {
		free(canvas->buffer);
		memset (canvas, 0, sizeof (*canvas));
	}
}
void canvas_write_font(struct canvas * canvas, int char_id, int x,int y) {
	const char * buf = font_get_map(canvas->font, char_id);

	for (int h = 0; h < canvas->font->Height && y + h < canvas->height; h++) {
		for (int w = 0; w < canvas->font->Width && x + w < canvas->width; w++) {
			if (bit(buf, w)) {
				SET_BIT_COLOR(canvas,x+w,y+h,canvas->font_color);
			//	printf("x");				
			} else {
				SET_BIT_COLOR(canvas,x+w,y+h,canvas->bg_color);
				//printf("_");				
			}

		}
		buf += font_chars_per_row(canvas->font);
		//printf("\n");		
		//
	}
}

void canvas_dump(struct canvas * canvas) {
	for (int h = 0; h < canvas->height; h++) {
		for (int w = 0; w < canvas->width; w++) {
			if (GET_BIT_COLOR(canvas,w,h)) {
				printf("x");
			} else {
				printf("_");
			}
		}
		printf("\n");		
	}
}

const char * canvas_buffer(struct canvas * canvas) {
	return canvas->buffer;
}


static char c[20*4]; 
void canvas_rotate_right(struct canvas * canvas, int n) {
	if (n > 20)
		n = 19;
	for (int h = 0; h < canvas->height; h++) {
		memcpy (c, &canvas->buffer[(canvas->width * 4 * h)],4*n);
		for (int i = 0; i < (canvas->width - n)*4; i++)
			canvas->buffer[(canvas->width * h * 4 + i )] = canvas->buffer[canvas->width * 4 * h + 4 * n + i];
		memcpy (&canvas->buffer[(canvas->width * h * 4 + canvas->width * 4 -  4 * n)] , c,4*n);
	}
}
void canvas_rotate_left(struct canvas * canvas, int n) {
	if (n > 20)
		n = 19;
	for (int h = 0; h < canvas->height; h++) {
		memcpy (c, &canvas->buffer[(canvas->width * 4 * h + 4 * (canvas->width - 2*n*4))],4*n);
		for (int i = (canvas->width )*4; i > 4 * n ; i--)
			canvas->buffer[canvas->width * 4 * h+i-4*n ] =canvas->buffer[canvas->width * 4 * h+i-2*n*4 ];
		memcpy (&canvas->buffer[(canvas->width * 4 * h )] , c,4*n);
	}
}

void canvas_print(struct canvas * canvas, int x, int y, const char* str){ 
	int len, unicode;
	int i = 0;
	if  (canvas->font == 0)
			canvas->font = font_6x13();

	while (*str) {
		len = u8_to_unicode(str, &unicode );

		int char_value = UNICODE_TO_ISO8859_8(unicode);
		
		canvas_write_font(canvas,char_value,x+i*font_width(canvas->font,0) ,y);		
		i++;
		//printf("%x\n", char_value);
		str += len;		
	}


}


void canvas_fill_rect(const struct canvas * canvas, struct rect * r,int color) {
	int buttom_right_y = r->top_left_y + r->height - 0;
	int buttom_right_x = r->top_left_x + r->width - 0;

	for (int x = r->top_left_x; x < buttom_right_x && x < canvas->width; x++) {
		for (int y = r->top_left_y; y < buttom_right_y && y < canvas->height; y++) {
			 SET_BIT_COLOR(canvas,x,y,color);	
		}
	}
}

void canvas_set_font(struct canvas * canvas, const struct font * f)
{
	canvas->font = f;
}


/**
 * Created  09/26/2023
 * @brief   return data from rectangle. The function
 * rearrange the new rectangle.
 * @note  
 * @param   
 * @return  
 */
void canvas_get_rect(struct canvas * canvas, struct rect * r, char *rect_buffer) {
	int buttom_right_x = r->top_left_x + r->width - 0;
	int buttom_right_y = r->top_left_y + r->height - 0;

	for (int y = r->top_left_y; y < buttom_right_y && y < canvas->height; y ++) {
		for (int x = r->top_left_x; x < buttom_right_x && x < canvas->width; x++) {
			int pixel = *(int*)&canvas->buffer[4 * (x) + 4 * (y) * canvas->width];
			*(int*)&rect_buffer[4 * (x - r->top_left_x) + 4 * (y - r->top_left_y) *  r->width] = pixel;
		}
	}
}


/**
 * Created  09/26/2023
 * @brief   place data in tectange
 * @note  
 * @param   
 * @return  
 */
void canvas_set_rect(struct canvas * canvas, struct rect * r, char *rect_buffer) {
	int buttom_right_x = r->top_left_x + r->width - 0;
	int buttom_right_y = r->top_left_y + r->height - 0;

	for (int y = r->top_left_y; y < buttom_right_y && y < canvas->height; y ++) {
		for (int x = r->top_left_x; x < buttom_right_x && x < canvas->width; x++) {
			int pixel = *(int*)&rect_buffer[4 * (x - r->top_left_x) + 4 * (y - r->top_left_y) *  r->width] ;
			*(int*)&canvas->buffer[4 * (x) + 4 * (y) * canvas->width] = pixel;
		}
	}
}


void canvas_plot(const struct canvas * canvas, int x,int y,int c) {
	SET_BIT_COLOR(canvas,x,y,c);
}
```

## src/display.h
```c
/*
 * =====================================================================================
 *
 *       Filename:  display.h
 *
 *    Description: this file will handle the driver for the display driver 
 *
 *        Version:  1.0
 *        Created:  05/04/24 07:24:58
 *       Revision:  none
 *       Compiler:  gcc
 *
 *         Author:  Yair Gadelov (yg), yair.gadelov@gmail.com
 *        Company:  Israel
 *
 * =====================================================================================
 */

#ifndef screen_driver_h
#define screen_driver_h 
void display__init();

#endif
```
